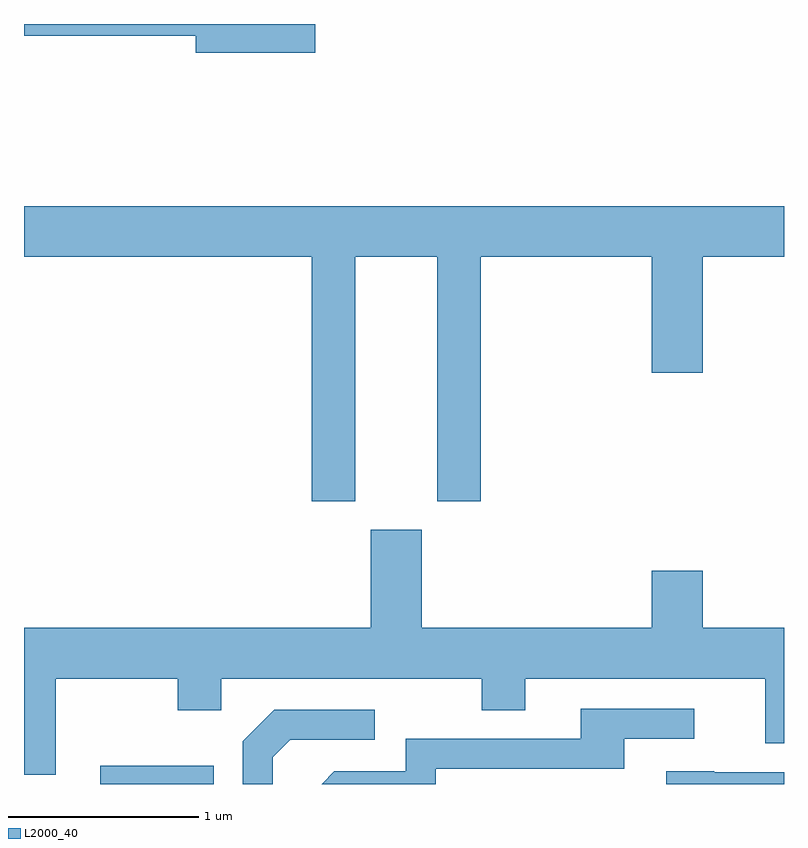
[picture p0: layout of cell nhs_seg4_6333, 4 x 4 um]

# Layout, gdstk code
import gdstk
lib = gdstk.Library(unit=1e-6, precision=1e-09)
def R(c, l, rs):  # rectangles x0, y0, x1, y1
    for r in rs: c.add(gdstk.rectangle(r[:2], r[2:], *l))
def P(c, l, *ps):  # polygons
    for p in ps: c.add(gdstk.Polygon(p, *l))
L2000_40 = (2000, 40)

nhs_seg4_6333 = lib.new_cell('nhs_seg4_6333')
R(nhs_seg4_6333, L2000_40, [(372.011,1271.982,372.609,1272.079)])
P(nhs_seg4_6333, L2000_40, [(373.144,1275.982),(371.611,1275.982),(371.611,1275.921),(372.516,1275.921),(372.516,1275.831),(373.144,1275.831)],
  [(373.354,1274.756),(373.786,1274.756),(373.786,1273.471),(374.014,1273.471),(374.014,1274.756),(374.916,1274.756),(374.916,1274.146),(375.184,1274.146),(375.184,1274.756),(375.611,1274.756),(375.611,1275.024),(371.611,1275.024),(371.611,1274.756),(373.126,1274.756),(373.126,1273.471),(373.354,1273.471)],
  [(371.779,1272.536),(372.421,1272.536),(372.421,1272.371),(372.649,1272.371),(372.649,1272.536),(374.021,1272.536),(374.021,1272.371),(374.249,1272.371),(374.249,1272.536),(375.511,1272.536),(375.511,1272.196),(375.611,1272.196),(375.611,1272.804),(375.184,1272.804),(375.184,1273.104),(374.916,1273.104),(374.916,1272.804),(373.704,1272.804),(373.704,1273.319),(373.436,1273.319),(373.436,1272.804),(371.611,1272.804),(371.611,1272.031),(371.779,1272.031)],
  [(373.779,1272.061),(374.769,1272.061),(374.769,1272.221),(375.138,1272.221),(375.138,1272.379),(374.541,1272.379),(374.541,1272.219),(373.621,1272.219),(373.621,1272.049),(373.244,1272.049),(373.177,1271.982),(373.779,1271.982)],
  [(372.919,1272.124),(373.012,1272.216),(373.458,1272.216),(373.458,1272.374),(372.929,1272.374),(372.761,1272.207),(372.761,1271.982),(372.919,1271.982)],
  [(375.611,1272.044),(375.245,1272.044),(375.245,1272.049),(374.991,1272.049),(374.991,1271.982),(375.611,1271.982)])

lib.write_gds('nhs_seg4_6333.gds')
